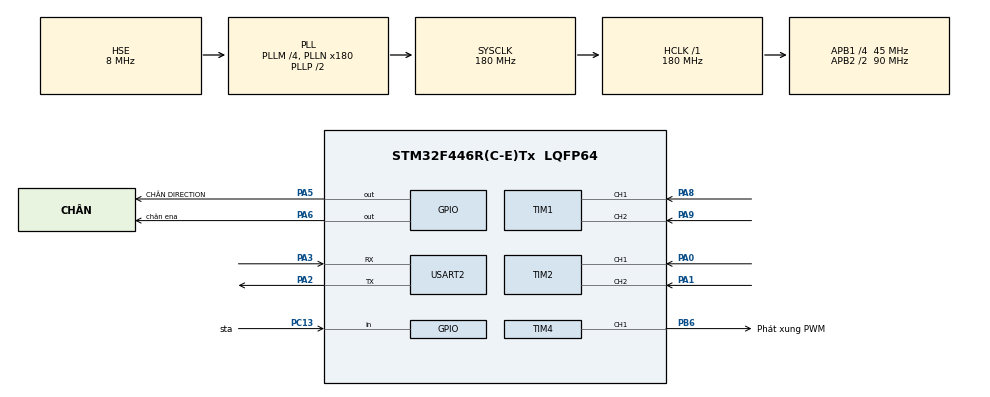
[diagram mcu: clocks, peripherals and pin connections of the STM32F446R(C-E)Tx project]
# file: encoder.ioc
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Mcu.Family=STM32F4
PH0-OSC_IN.Signal=RCC_OSC_IN
RCC.CortexFreq_Value=180000000
Dma.USART2_TX.0.PeriphDataAlignment=DMA_PDATAALIGN_BYTE
TIM1.EncoderMode=TIM_ENCODERMODE_TI12
PA6.GPIO_Label=ch\u00E2n ena
PB6.GPIO_Label=Ph\u00E1t xung PWM
TIM2.EncoderMode=TIM_ENCODERMODE_TI12
PC13.GPIO_Label=sta
PA5.PinState=GPIO_PIN_RESET
Dma.USART2_TX.0.FIFOMode=DMA_FIFOMODE_DISABLE
RCC.SYSCLKSource=RCC_SYSCLKSOURCE_PLLCLK
ProjectManager.StackSize=0x400
Dma.USART2_TX.0.Priority=DMA_PRIORITY_LOW
Mcu.UserConstants=ENCODER_RESOLUTION,7999
RCC.HCLKFreq_Value=180000000
RCC.APB2TimFreq_Value=180000000
TIM3.Period=999
TIM4.Pulse-PWM\ Generation1\ CH1=500
PB6.Signal=S_TIM4_CH1
PA1.GPIO_PuPd=GPIO_PULLUP
RCC.AHBFreq_Value=180000000
PH0-OSC_IN.Mode=HSE-External-Clock-Source
RCC.HSE_VALUE=8000000
PB3.Mode=Trace_Asynchronous_SW
PA14.Mode=Trace_Asynchronous_SW
TIM3.Prescaler=89
NVIC.TIM2_IRQn=true\:0\:0\:false\:false\:true\:true\:true
PA8.Signal=S_TIM1_CH1
Dma.USART2_TX.0.MemDataAlignment=DMA_MDATAALIGN_BYTE
TIM4.Period=999
Dma.USART2_TX.0.Direction=DMA_MEMORY_TO_PERIPH
Dma.USART2_TX.0.Instance=DMA1_Stream6
PH1-OSC_OUT.Mode=HSE-External-Clock-Source
Mcu.Package=LQFP64
PA6.Signal=GPIO_Output
USART2.VirtualMode=VM_ASYNC
PA6.GPIO_ModeDefaultOutputPP=GPIO_MODE_OUTPUT_OD
Dma.USART2_TX.0.Mode=DMA_NORMAL
RCC.APB2CLKDivider=RCC_HCLK_DIV2
SH.S_TIM4_CH1.0=TIM4_CH1,PWM Generation1 CH1
RCC.APB1TimFreq_Value=90000000
TIM1.Period=ENCODER_RESOLUTION
NVIC.DMA1_Stream6_IRQn=true\:0\:0\:false\:false\:true\:false\:true
Dma.Request0=USART2_TX
VP_TIM3_VS_ClockSourceINT.Mode=Internal
PA3.Signal=USART2_RX
RCC.PLLSourceVirtual=RCC_PLLSOURCE_HSE
TIM4.Channel-PWM\ Generation1\ CH1=TIM_CHANNEL_1
TIM4.AutoReloadPreload=TIM_AUTORELOAD_PRELOAD_ENABLE
Dma.USART2_TX.0.MemInc=DMA_MINC_ENABLE
TIM2.IC1Filter=8
PC13.Signal=GPIO_Input
PA9.GPIO_Label=timer \u0111\u1EBFm encoder c\u1EE7a cart
PA6.PinState=GPIO_PIN_SET
RCC.APB1CLKDivider=RCC_HCLK_DIV4
PA9.GPIO_PuPd=GPIO_PULLUP
NVIC.USART2_IRQn=true\:0\:0\:false\:false\:true\:true\:true
PA0-WKUP.Signal=S_TIM2_CH1_ETR
PA13.Signal=SYS_JTMS-SWDIO
PA3.Mode=Asynchronous
SH.S_TIM2_CH2.0=TIM2_CH2,Encoder_Interface
PA8.GPIO_Label=timer \u0111\u1EBFm encoder c\u1EE7a cart
SH.S_TIM1_CH1.0=TIM1_CH1,Encoder_Interface
ProjectManager.TargetToolchain=STM32CubeIDE
PA9.Signal=S_TIM1_CH2
RCC.USBFreq_Value=180000000
TIM4.Prescaler=89
PA1.Signal=S_TIM2_CH2
PA5.Signal=GPIO_Output
RCC.PeriphClockSelection=+RCC_PERIPHCLK_PLLI2SVar+|RCC_PERIPHCLK_I2S1Var+|RCC_PERIPHCLK_I2S2Var+|RCC_PERIPHCLK_SAIAVar+|RCC_PERIPHCLK_SAIBVar+|RCC_PERIPHCLK_TIMVar+|RCC_PERIPHCLK_RTCVar+|RCC_PERIPHCLK_SDIOVar+|RCC_PERIPHCLK_SPDIFVar+|RCC_PERIPHCLK_CK48Var+|RCC_PERIPHCLK_CECVar+|RCC_PERIPHCLK_FMPI2C1Var
board=custom
RCC.VCOOutputFreq_Value=360000000
NVIC.TIM3_IRQn=true\:0\:0\:false\:false\:true\:true\:true
RCC.APB2Freq_Value=90000000
PA5.GPIO_ModeDefaultOutputPP=GPIO_MODE_OUTPUT_OD
SH.S_TIM1_CH2.0=TIM1_CH2,Encoder_Interface
PA1.GPIO_Label=timer encoder c\u1EE7a pole
TIM1.IC2Filter=5
PH1-OSC_OUT.Signal=RCC_OSC_OUT
TIM2.Period=ENCODER_RESOLUTION
PA13.Mode=Trace_Asynchronous_SW
Mcu.Name=STM32F446R(C-E)Tx
PA2.Signal=USART2_TX
TIM4.OCPolarity_1=TIM_OCPOLARITY_LOW
PB3.Signal=SYS_JTDO-SWO
RCC.SYSCLKFreq_VALUE=180000000
Dma.USART2_TX.0.PeriphInc=DMA_PINC_DISABLE
PA5.GPIO_Label=CH\u00C2N DIRECTION
TIM1.IC1Filter=8
SH.S_TIM2_CH1_ETR.0=TIM2_CH1,Encoder_Interface
PA14.Signal=SYS_JTCK-SWCLK
ProjectManager.HeapSize=0x200
PA8.GPIO_PuPd=GPIO_PULLUP
VP_TIM4_VS_ClockSourceINT.Mode=Internal
NVIC.PriorityGroup=NVIC_PRIORITYGROUP_4
RCC.PLLM=4
RCC.PLLN=180
PA2.Mode=Asynchronous
PA0-WKUP.GPIO_PuPd=GPIO_PULLUP
RCC.APB1Freq_Value=45000000
TIM2.IC2Filter=5

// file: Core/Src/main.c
/* USER CODE BEGIN Header */
/**
  ******************************************************************************
  * @file           : main.c
  * @brief          : Main program body
  ******************************************************************************
  * @attention
  *
  * <h2><center>&copy; Copyright (c) 2026 STMicroelectronics.
  * All rights reserved.</center></h2>
  *
  * This software component is licensed by ST under BSD 3-Clause license,
  * the "License"; You may not use this file except in compliance with the
  * License. You may obtain a copy of the License at:
  *                        opensource.org/licenses/BSD-3-Clause
  *
  ******************************************************************************
  */
/* USER CODE END Header */
#include "main.h"

/* USER CODE BEGIN Includes */
#include <stdio.h> //thư viện dùng cho nhập xuất dữ liệu
#include <string.h>
#include "thucdonencoder.h"
#include "LQR.h"
#include "velotofreq.h"
/* USER CODE END Includes */

TIM_HandleTypeDef htim1;
TIM_HandleTypeDef htim2;
TIM_HandleTypeDef htim3;
TIM_HandleTypeDef htim4;

UART_HandleTypeDef huart2;
DMA_HandleTypeDef hdma_usart2_tx;

/* USER CODE BEGIN PV */
//PrivateVariables

volatile static EncoderTypeDef encoder_pendulum; //EncoderTypedef là kiểu dữ liệu đã định nghĩa ở file.h, gi�? g�?i ra và có tên biến là encoder_inverted với kiểu dữ liệu đã khai báo ở file.h
volatile static CartEncoderTypeDef encoder_cart;
Stepper_Handle_t stepper_cart; //phát xung cho động cơ của cart
InvertedPendulumTypeDef vinh_pendulum; //quản lí LQR và state của con lắc

//bien luu tru gia tri encoder cua pendulum
volatile float angular_position_pendulum = 0.0;
volatile float angular_velocity_pendulum = 0.0;
float target_speed = 0.0;
//biến của cart
volatile float cart_position = 0.0;
volatile float cart_velocity = 0.0;

volatile uint8_t flag_print = 0;
volatile float debug_freq_hz = 0.0f; //biến để debug tần số phát xung
volatile uint8_t debug_state = 0;

uint8_t rx_buffer[5];

/* USER CODE END PV */

void SystemClock_Config(void);
static void MX_GPIO_Init(void);
static void MX_DMA_Init(void);
static void MX_TIM2_Init(void);
static void MX_USART2_UART_Init(void);
static void MX_TIM3_Init(void);
static void MX_TIM1_Init(void);
static void MX_TIM4_Init(void);

int main(void)
{

  /* MCU Configuration--------------------------------------------------------*/

  /* Reset of all peripherals, Initializes the Flash interface and the Systick. */
  HAL_Init();

  /* Configure the system clock */
  SystemClock_Config();

  /* Initialize all configured peripherals */
  MX_GPIO_Init();
  MX_DMA_Init();
  MX_TIM2_Init();
  MX_USART2_UART_Init();
  MX_TIM3_Init();
  MX_TIM1_Init();
  MX_TIM4_Init();
  /* USER CODE BEGIN 2 */
  //KHỞI TẠO ENCODER
//RESET CHO LẦN KHỞI TẠO �?ẦU TIÊN
//void reset_encoder(EncoderTypeDef *encoder, TIM_HandleTypeDef*timer), encoder và timer là 2 con tr�?
reset_encoder_pendulum((EncoderTypeDef*)&encoder_pendulum, &htim2);
reset_encoder_cart((CartEncoderTypeDef*)&encoder_cart, &htim1);    //reset encoder cua cart

HAL_TIM_Encoder_Start(&htim2, TIM_CHANNEL_ALL); //tim2 la encoder pendulum
HAL_TIM_Encoder_Start(&htim1, TIM_CHANNEL_ALL); //encoder of cart

//KHAI B�?O PHẦN �?IỀU KHIỂN �?ỘNG CƠ QUA DRIVER
stepper_cart.htim = &htim4;                    // TIM4 phát xung
  stepper_cart.tim_channel = TIM_CHANNEL_1;      // Kênh 1
  stepper_cart.dir_port = CH_N_DIRECTION_GPIO_Port; // Chân DIR
  stepper_cart.dir_pin = CH_N_DIRECTION_Pin;
  stepper_cart.ena_port = ch_n_ena_GPIO_Port;       // Chân ENA
  stepper_cart.ena_pin = ch_n_ena_Pin;
  stepper_cart.ena_active_low = false;            // ENA thư�?ng tác động mức THẤP

  Stepper_Init(&stepper_cart);                   // Khởi tạo thư viện
  Stepper_Enable(&stepper_cart, true);           // Kích hoạt Driver (cấp dòng giữ motor)

//vinh_pendulum là biến struct thật
  vinh_pendulum.stepper = &stepper_cart; //con tr�? stepper trong struct vinh_pendulum tr�? vào địa chỉ của biến stepper_cart
  vinh_pendulum.pend_enc = (EncoderTypeDef*)&encoder_pendulum;
  vinh_pendulum.cart_enc = (CartEncoderTypeDef*)&encoder_cart;
  //C�?I RẤT KHÓ HIỂU: TẠI SAO LẠI PHẢI ÉP KIỂU

init_pendulum(&vinh_pendulum);

HAL_TIM_Base_Start_IT(&htim3); 	//timer ngắt gián đoạn chu kì 5ms

//cho lqr tune
HAL_UART_Receive_IT(&huart2, rx_buffer, 5);

  /* USER CODE END 2 */

  /* Infinite loop */
  /* USER CODE BEGIN WHILE */
uint32_t print_counter = 0; //  biến đếm
  while (1)
  {

	  if (flag_print == 1){
	          flag_print = 0; // Xóa c�? ngay
	          print_counter++;}

	  if (flag_print >=20){
		  printf("%f %f %f\n", cart_position, angular_position_pendulum,target_speed);
		  flag_print = 0;
	  }
    /* USER CODE END WHILE */

  }
}

void SystemClock_Config(void)
{
  RCC_OscInitTypeDef RCC_OscInitStruct = {0};
  RCC_ClkInitTypeDef RCC_ClkInitStruct = {0};

  /** Configure the main internal regulator output voltage
  */
  __HAL_RCC_PWR_CLK_ENABLE();
  __HAL_PWR_VOLTAGESCALING_CONFIG(PWR_REGULATOR_VOLTAGE_SCALE1);
  /** Initializes the RCC Oscillators according to the specified parameters
  * in the RCC_OscInitTypeDef structure.
  */
  RCC_OscInitStruct.OscillatorType = RCC_OSCILLATORTYPE_HSE;
  RCC_OscInitStruct.HSEState = RCC_HSE_BYPASS;
  RCC_OscInitStruct.PLL.PLLState = RCC_PLL_ON;
  RCC_OscInitStruct.PLL.PLLSource = RCC_PLLSOURCE_HSE;
  RCC_OscInitStruct.PLL.PLLM = 4;
  RCC_OscInitStruct.PLL.PLLN = 180;
  RCC_OscInitStruct.PLL.PLLP = RCC_PLLP_DIV2;
  RCC_OscInitStruct.PLL.PLLQ = 2;
  RCC_OscInitStruct.PLL.PLLR = 2;
  if (HAL_RCC_OscConfig(&RCC_OscInitStruct) != HAL_OK)
  {
    Error_Handler();
  }
  /** Activate the Over-Drive mode
  */
  if (HAL_PWREx_EnableOverDrive() != HAL_OK)
  {
    Error_Handler();
  }
  /** Initializes the CPU, AHB and APB buses clocks
  */
  RCC_ClkInitStruct.ClockType = RCC_CLOCKTYPE_HCLK|RCC_CLOCKTYPE_SYSCLK
                              |RCC_CLOCKTYPE_PCLK1|RCC_CLOCKTYPE_PCLK2;
  RCC_ClkInitStruct.SYSCLKSource = RCC_SYSCLKSOURCE_PLLCLK;
  RCC_ClkInitStruct.AHBCLKDivider = RCC_SYSCLK_DIV1;
  RCC_ClkInitStruct.APB1CLKDivider = RCC_HCLK_DIV4;
  RCC_ClkInitStruct.APB2CLKDivider = RCC_HCLK_DIV2;

  if (HAL_RCC_ClockConfig(&RCC_ClkInitStruct, FLASH_LATENCY_5) != HAL_OK)
  {
    Error_Handler();
  }
}

static void MX_TIM1_Init(void)
{

  TIM_Encoder_InitTypeDef sConfig = {0};
  TIM_MasterConfigTypeDef sMasterConfig = {0};

  htim1.Instance = TIM1;
  htim1.Init.Prescaler = 0;
  htim1.Init.CounterMode = TIM_COUNTERMODE_UP;
  htim1.Init.Period = ENCODER_RESOLUTION;
  htim1.Init.ClockDivision = TIM_CLOCKDIVISION_DIV1;
  htim1.Init.RepetitionCounter = 0;
  htim1.Init.AutoReloadPreload = TIM_AUTORELOAD_PRELOAD_DISABLE;
  sConfig.EncoderMode = TIM_ENCODERMODE_TI12;
  sConfig.IC1Polarity = TIM_ICPOLARITY_RISING;
  sConfig.IC1Selection = TIM_ICSELECTION_DIRECTTI;
  sConfig.IC1Prescaler = TIM_ICPSC_DIV1;
  sConfig.IC1Filter = 8;
  sConfig.IC2Polarity = TIM_ICPOLARITY_RISING;
  sConfig.IC2Selection = TIM_ICSELECTION_DIRECTTI;
  sConfig.IC2Prescaler = TIM_ICPSC_DIV1;
  sConfig.IC2Filter = 5;
  if (HAL_TIM_Encoder_Init(&htim1, &sConfig) != HAL_OK)
  {
    Error_Handler();
  }
  sMasterConfig.MasterOutputTrigger = TIM_TRGO_RESET;
  sMasterConfig.MasterSlaveMode = TIM_MASTERSLAVEMODE_DISABLE;
  if (HAL_TIMEx_MasterConfigSynchronization(&htim1, &sMasterConfig) != HAL_OK)
  {
    Error_Handler();
  }

}

static void MX_TIM2_Init(void)
{

  TIM_Encoder_InitTypeDef sConfig = {0};
  TIM_MasterConfigTypeDef sMasterConfig = {0};

  htim2.Instance = TIM2;
  htim2.Init.Prescaler = 0;
  htim2.Init.CounterMode = TIM_COUNTERMODE_UP;
  htim2.Init.Period = ENCODER_RESOLUTION;
  htim2.Init.ClockDivision = TIM_CLOCKDIVISION_DIV1;
  htim2.Init.AutoReloadPreload = TIM_AUTORELOAD_PRELOAD_DISABLE;
  sConfig.EncoderMode = TIM_ENCODERMODE_TI12;
  sConfig.IC1Polarity = TIM_ICPOLARITY_RISING;
  sConfig.IC1Selection = TIM_ICSELECTION_DIRECTTI;
  sConfig.IC1Prescaler = TIM_ICPSC_DIV1;
  sConfig.IC1Filter = 8;
  sConfig.IC2Polarity = TIM_ICPOLARITY_RISING;
  sConfig.IC2Selection = TIM_ICSELECTION_DIRECTTI;
  sConfig.IC2Prescaler = TIM_ICPSC_DIV1;
  sConfig.IC2Filter = 5;
  if (HAL_TIM_Encoder_Init(&htim2, &sConfig) != HAL_OK)
  {
    Error_Handler();
  }
  sMasterConfig.MasterOutputTrigger = TIM_TRGO_RESET;
  sMasterConfig.MasterSlaveMode = TIM_MASTERSLAVEMODE_DISABLE;
  if (HAL_TIMEx_MasterConfigSynchronization(&htim2, &sMasterConfig) != HAL_OK)
  {
    Error_Handler();
  }

}

static void MX_TIM3_Init(void)
{

  TIM_ClockConfigTypeDef sClockSourceConfig = {0};
  TIM_MasterConfigTypeDef sMasterConfig = {0};

  htim3.Instance = TIM3;
  htim3.Init.Prescaler = 89;
  htim3.Init.CounterMode = TIM_COUNTERMODE_UP;
  htim3.Init.Period = 999;
  htim3.Init.ClockDivision = TIM_CLOCKDIVISION_DIV1;
  htim3.Init.AutoReloadPreload = TIM_AUTORELOAD_PRELOAD_DISABLE;
  if (HAL_TIM_Base_Init(&htim3) != HAL_OK)
  {
    Error_Handler();
  }
  sClockSourceConfig.ClockSource = TIM_CLOCKSOURCE_INTERNAL;
  if (HAL_TIM_ConfigClockSource(&htim3, &sClockSourceConfig) != HAL_OK)
  {
    Error_Handler();
  }
  sMasterConfig.MasterOutputTrigger = TIM_TRGO_RESET;
  sMasterConfig.MasterSlaveMode = TIM_MASTERSLAVEMODE_DISABLE;
  if (HAL_TIMEx_MasterConfigSynchronization(&htim3, &sMasterConfig) != HAL_OK)
  {
    Error_Handler();
  }

}

static void MX_TIM4_Init(void)
{

  TIM_ClockConfigTypeDef sClockSourceConfig = {0};
  TIM_MasterConfigTypeDef sMasterConfig = {0};
  TIM_OC_InitTypeDef sConfigOC = {0};

  htim4.Instance = TIM4;
  htim4.Init.Prescaler = 89;
  htim4.Init.CounterMode = TIM_COUNTERMODE_UP;
  htim4.Init.Period = 999;
  htim4.Init.ClockDivision = TIM_CLOCKDIVISION_DIV1;
  htim4.Init.AutoReloadPreload = TIM_AUTORELOAD_PRELOAD_ENABLE;
  if (HAL_TIM_Base_Init(&htim4) != HAL_OK)
  {
    Error_Handler();
  }
  sClockSourceConfig.ClockSource = TIM_CLOCKSOURCE_INTERNAL;
  if (HAL_TIM_ConfigClockSource(&htim4, &sClockSourceConfig) != HAL_OK)
  {
    Error_Handler();
  }
  if (HAL_TIM_PWM_Init(&htim4) != HAL_OK)
  {
    Error_Handler();
  }
  sMasterConfig.MasterOutputTrigger = TIM_TRGO_RESET;
  sMasterConfig.MasterSlaveMode = TIM_MASTERSLAVEMODE_DISABLE;
  if (HAL_TIMEx_MasterConfigSynchronization(&htim4, &sMasterConfig) != HAL_OK)
  {
    Error_Handler();
  }
  sConfigOC.OCMode = TIM_OCMODE_PWM1;
  sConfigOC.Pulse = 500;
  sConfigOC.OCPolarity = TIM_OCPOLARITY_LOW;
  sConfigOC.OCFastMode = TIM_OCFAST_DISABLE;
  if (HAL_TIM_PWM_ConfigChannel(&htim4, &sConfigOC, TIM_CHANNEL_1) != HAL_OK)
  {
    Error_Handler();
  }
  HAL_TIM_MspPostInit(&htim4);

}

static void MX_USART2_UART_Init(void)
{

  huart2.Instance = USART2;
  huart2.Init.BaudRate = 115200;
  huart2.Init.WordLength = UART_WORDLENGTH_8B;
  huart2.Init.StopBits = UART_STOPBITS_1;
  huart2.Init.Parity = UART_PARITY_NONE;
  huart2.Init.Mode = UART_MODE_TX_RX;
  huart2.Init.HwFlowCtl = UART_HWCONTROL_NONE;
  huart2.Init.OverSampling = UART_OVERSAMPLING_16;
  if (HAL_UART_Init(&huart2) != HAL_OK)
  {
    Error_Handler();
  }

}

static void MX_DMA_Init(void)
{

  /* DMA controller clock enable */
  __HAL_RCC_DMA1_CLK_ENABLE();

  /* DMA interrupt init */
  /* DMA1_Stream6_IRQn interrupt configuration */
  HAL_NVIC_SetPriority(DMA1_Stream6_IRQn, 0, 0);
  HAL_NVIC_EnableIRQ(DMA1_Stream6_IRQn);

}

static void MX_GPIO_Init(void)
{
  GPIO_InitTypeDef GPIO_InitStruct = {0};

  /* GPIO Ports Clock Enable */
  __HAL_RCC_GPIOC_CLK_ENABLE();
  __HAL_RCC_GPIOH_CLK_ENABLE();
  __HAL_RCC_GPIOA_CLK_ENABLE();
  __HAL_RCC_GPIOB_CLK_ENABLE();

  /*Configure GPIO pin Output Level */
  HAL_GPIO_WritePin(CH_N_DIRECTION_GPIO_Port, CH_N_DIRECTION_Pin, GPIO_PIN_RESET);

  /*Configure GPIO pin Output Level */
  HAL_GPIO_WritePin(ch_n_ena_GPIO_Port, ch_n_ena_Pin, GPIO_PIN_SET);

  /*Configure GPIO pin : sta_Pin */
  GPIO_InitStruct.Pin = sta_Pin;
  GPIO_InitStruct.Mode = GPIO_MODE_INPUT;
  GPIO_InitStruct.Pull = GPIO_NOPULL;
  HAL_GPIO_Init(sta_GPIO_Port, &GPIO_InitStruct);

  /*Configure GPIO pins : CH_N_DIRECTION_Pin ch_n_ena_Pin */
  GPIO_InitStruct.Pin = CH_N_DIRECTION_Pin|ch_n_ena_Pin;
  GPIO_InitStruct.Mode = GPIO_MODE_OUTPUT_OD;
  GPIO_InitStruct.Pull = GPIO_NOPULL;
  GPIO_InitStruct.Speed = GPIO_SPEED_FREQ_LOW;
  HAL_GPIO_Init(GPIOA, &GPIO_InitStruct);

}

/* USER CODE BEGIN 4 */
//XỬ L�? NGẮT �?Ể LẤY MẪU VÀ �?IỀU KHIỂN
void HAL_TIM_PeriodElapsedCallback(TIM_HandleTypeDef *htim) //htim la 1 contro, ham nay giu dia chi vung nho cua bo timer. callback duoc goi moi khi bat ki timer nao tran
{
	if (htim->Instance==TIM3){
		//LQR gia tốc rồi đạo hàm thành vận tốc
		float target_speed = run_pendulum(&vinh_pendulum); //trả v�? vận tốc mục tiêu
		debug_state = (uint8_t)vinh_pendulum.state;

		//lấy dữ liệu góc và vị trí cart
		cart_position = vinh_pendulum.cart_enc->linear_position;
		angular_position_pendulum = vinh_pendulum.pend_enc->angle_position;

		//c�? in trong while
		flag_print = 1;

		//chuyển đổi vận tốc sang tần số xung
		stepper_command_t cmd = Func_VeltoFreq(target_speed);
		debug_freq_hz = cmd.freq_hz; // COPY RA �?Ể THEO DÕI
		if (vinh_pendulum.state == IDLE_PENDULUM){
			Stepper_UpdateCartFrequency(&stepper_cart, 0); //con lắc ở idle thì ngắt xung
		}
		else {
			if(cmd.direction == DIR_CW_RIGHT){
				Stepper_SetDirection(&stepper_cart, STEPPER_DIR_CW);
			}
			else {
				Stepper_SetDirection(&stepper_cart, STEPPER_DIR_CCW);
			}
			Stepper_UpdateCartFrequency(&stepper_cart, cmd.freq_hz);
		}
	}
	}

//hàm này dùng cho in lên SMV để nhìn đồ thị
int _write(int file, char *ptr, int len){
    for(int i = 0; i < len; i++){
    	HAL_UART_Transmit(&huart2, (uint8_t*)ptr, len, HAL_MAX_DELAY);    }
    return len;
}

extern float LQR_tune[4];
extern float angle_offset;
extern float max_speed;
extern float max_accel;
extern float kick_acce;
extern float max_kick_speed;
extern float k_swing;
extern float max_swing_acce;
extern float k1_swing;
extern float k2_swing;

//nhận data từ tuner trên python
void HAL_UART_RxCpltCallback(UART_HandleTypeDef *huart) {
    if (huart->Instance == USART2) {
        uint8_t address = rx_buffer[0];

        float value;
        uint8_t *byte_ptr = (uint8_t*)&value;
        byte_ptr[0] = rx_buffer[1];
        byte_ptr[1] = rx_buffer[2];
        byte_ptr[2] = rx_buffer[3];
        byte_ptr[3] = rx_buffer[4];

        switch (address) {
        //data LQR
            case 0x01: LQR_tune[0] = value; break;
            case 0x02: LQR_tune[1] = value; break;
            case 0x03: LQR_tune[2] = value; break;
            case 0x04: LQR_tune[3] = value; break;
        //data tốc độ max balance
            case 0x06: max_speed = value; break;
            case 0x07: max_accel = value; break;
         //data kickstart
            case 0x08: kick_acce = value; break;
            case 0x09: max_kick_speed = value; break;
          //data balance
            case 0x10: k_swing = value; break;
            case 0x11: max_swing_acce = value; break;
          //data cho PD trong swing up
            case 0x12: k1_swing = value; break;
            case 0x13: k2_swing = value; break;

        }

        HAL_UART_Receive_IT(&huart2, rx_buffer, 5);
    }
}
/* USER CODE END 4 */

void Error_Handler(void)
{
  __disable_irq();
  while (1)
  {
  }
}

/************************ (C) COPYRIGHT STMicroelectronics *****END OF FILE****/
